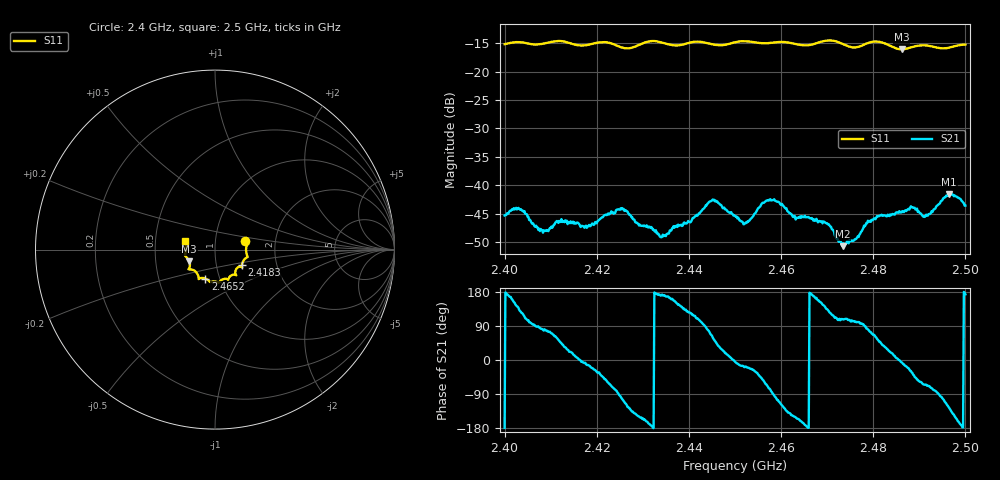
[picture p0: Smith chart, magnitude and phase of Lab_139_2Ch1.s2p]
# Hz S RI R 50
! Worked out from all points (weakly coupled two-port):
!   601 points, 2.4 GHz to 2.5 GHz, reference 50 ohm
!   highest |S21| = -41.54 dB at 2.4965 GHz (marker M1); lowest = -50.7 dB at 2.4733 GHz (marker M2)
!   lowest |S11| = -16.1 dB at 2.4862 GHz (marker M3), VSWR 1.37, Z = 37.2 - j4.89 ohm
!   |S11| at or under -10 dB: start of sweep to end of sweep
!   S12 and S22 are empty: the file has one direction only
!   S11 on the Smith chart (normalised r, x): 2.4 GHz: 1.40, +0.14; 2.4183 GHz: 1.33, -0.24; 2.4652 GHz: 0.85, -0.28; 2.5 GHz: 0.71, +0.07
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2.4e9  0.1679 0.047  -0.00541 -6.5e-05  0 0  0 0
2.4035e9  0.1789 0.03  -0.00375 0.00489  0 0  0 0
2.4085e9  0.1755 -0.0207  0.00085 0.00391  0 0  0 0
2.411833e9  0.1815 -0.0408  0.00304 0.00378  0 0  0 0
2.416667e9  0.1553 -0.0682  0.00436 -0.000387  0 0  0 0
2.418333e9  0.1498 -0.0865  0.00432 -0.00115  0 0  0 0
2.425333e9  0.1319 -0.0966  -0.00105 -0.00605  0 0  0 0
2.433333e9  0.1171 -0.1414  -0.00365 0.000526  0 0  0 0
2.44e9  0.0757 -0.1623  -0.00277 0.00388  0 0  0 0
2.445e9  0.0624 -0.1627  0.00321 0.00661  0 0  0 0
2.45e9  0.0258 -0.1796  0.00535 -0.000417  0 0  0 0
2.452333e9  0.0202 -0.1839  0.00449 -0.00138  0 0  0 0
2.458e9  -0.0165 -0.1784  0.000668 -0.00733  0 0  0 0
2.465167e9  -0.0543 -0.1614  -0.00534 -0.000797  0 0  0 0
2.466667e9  -0.0708 -0.1578  -0.0051 0.000691  0 0  0 0
2.470333e9  -0.091 -0.1645  -0.00284 0.00354  0 0  0 0
2.473333e9  -0.0923 -0.1493  -0.000895 0.00276  0 0  0 0
2.483333e9  -0.1415 -0.0966  0.00491 0.00227  0 0  0 0
2.486167e9  -0.1434 -0.0641  0.00572 -0.000616  0 0  0 0
2.491333e9  -0.1672 -0.0313  0.00228 -0.00483  0 0  0 0
2.4965e9  -0.1613 0.0208  -0.00499 -0.00672  0 0  0 0
2.5e9  -0.1663 0.0473  -0.00656 0.000784  0 0  0 0
